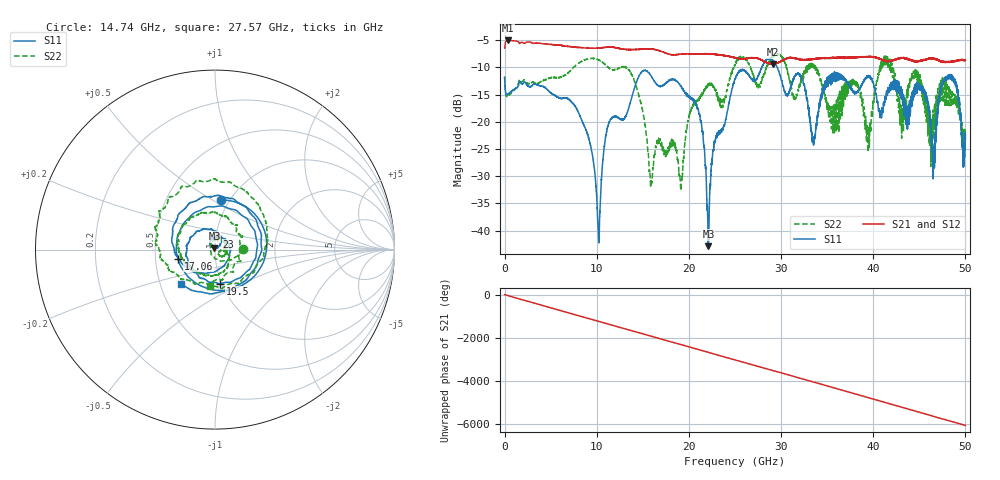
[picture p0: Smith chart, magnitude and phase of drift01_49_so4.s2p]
!Created with skrf (http://scikit-rf.org).
# Hz S RI R 50.0
!freq ReS11 ImS11 ReS21 ImS21 ReS12 ImS12 ReS22 ImS22
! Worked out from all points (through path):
!   10001 points, 300 kHz to 50 GHz, reference 50 ohm
!   highest |S21| = -5.06 dB at 360.3 MHz (marker M1); lowest = -9.4 dB at 29.08 GHz (marker M2)
!   group delay of S21, straight-line fit = 336 ps
!   lowest |S11| = -42.8 dB at 22.12 GHz (marker M3), VSWR 1.01, Z = 49.7 + j0.643 ohm
!   |S11| at or under -10 dB: start of sweep to 27.92 GHz; 29.59 GHz to end of sweep
!   |S22| runs from -32.4 to -7.4 dB; largest |S21 - S12| = 0.014
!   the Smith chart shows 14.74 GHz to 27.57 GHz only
!   S11 on the Smith chart (normalised r, x): 14.74 GHz: 0.91, +0.54; 17.06 GHz: 0.66, -0.07; 19.5 GHz: 0.98, -0.39; 23 GHz: 1.01, +0.15; 27.57 GHz: 0.64, -0.27
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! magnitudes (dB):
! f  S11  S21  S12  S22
! 300 kHz  -11.9  -6.5  -6.5  -11.6
! 360.3 MHz  -14.9  -5.1  -5.1  -15.2
! 8.335 GHz  -19.6  -6.4  -6.4  -8.9
! 10.21 GHz  -41.7  -6.4  -6.4  -8.6
! 11.24 GHz  -20.7  -6.3  -6.3  -10.0
! 14.74 GHz  -11.2  -6.7  -6.7  -16.3
! 15.88 GHz  -11.5  -6.6  -6.6  -31.2
! 16.67 GHz  -13.3  -6.9  -6.9  -23.2
! 17.06 GHz  -13.5  -7.1  -7.1  -24.1
! 19.5 GHz  -14.3  -7.5  -7.6  -25.3
! 21.2 GHz  -18.9  -7.5  -7.5  -15.7
! 22.12 GHz  -42.8  -7.5  -7.5  -13.3
! 23 GHz  -22.7  -7.6  -7.6  -14.9
! 25 GHz  -12.1  -8.2  -8.3  -9.6
! 27.57 GHz  -11.4  -8.4  -8.4  -13.7
! 29.08 GHz  -8.6  -9.4  -9.4  -7.9
! 33.34 GHz  -22.5  -8.5  -8.5  -9.6
! 39.48 GHz  -11.5  -8.1  -8.1  -21.7
! 41.67 GHz  -13.9  -8.8  -8.8  -8.9
! 46.56 GHz  -25.3  -8.4  -8.4  -20.6
! 48.49 GHz  -11.5  -9.0  -9.1  -15.9
! 50 GHz  -22.5  -8.7  -8.7  -23.2
